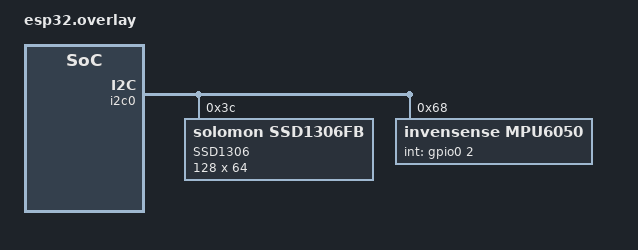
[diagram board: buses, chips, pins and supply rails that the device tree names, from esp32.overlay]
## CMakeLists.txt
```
# SPDX-License-Identifier: Apache-2.0

set(BOARD esp32)
# set(SHIELD ssd1306_128x64)

cmake_minimum_required(VERSION 3.13.1)

find_package(Zephyr REQUIRED HINTS $ENV{ZEPHYR_BASE})
project(lvgl)


FILE(GLOB app_sources src/*.c)
target_sources(app PRIVATE ${app_sources})
```

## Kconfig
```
# Copyright (c) 2019 Nordic Semiconductor ASA
# SPDX-License-Identifier: Apache-2.0

# Use the SPI driver by default, unless the GPIO driver is
# specifically configured in.
config I2C
	default y

config SPI
	default y

config SSD1306
        default y

choice SSD1306_CONTROLLER_TYPE
        default SSD1306_SH1106_COMPATIBLE
endchoice

config LVGL_DISPLAY_DEV_NAME
	default "SSD1306"
	# default "I2C_0"

config LVGL_HOR_RES_MAX
    default 128

config LVGL_VER_RES_MAX
    default 64

config LVGL_VDB_SIZE
    default 64

config LVGL_DPI
    default 116

config LVGL_BITS_PER_PIXEL
    default 1

choice LVGL_COLOR_DEPTH
    default LVGL_COLOR_DEPTH_1
endchoice


source "Kconfig.zephyr"
```

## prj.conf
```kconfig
CONFIG_HEAP_MEM_POOL_SIZE=16384
CONFIG_MAIN_STACK_SIZE=2048

CONFIG_DISPLAY=y
CONFIG_DISPLAY_LOG_LEVEL_ERR=y

CONFIG_LOG=y

# CONFIG_SPI=y
# CONFIG_BMI160=y

CONFIG_I2C=y
CONFIG_SENSOR=y
CONFIG_MPU6050=y
CONFIG_MPU6050_TRIGGER_NONE=y
CONFIG_CBPRINTF_FP_SUPPORT=y

CONFIG_LVGL=y
CONFIG_LVGL_USE_LABEL=y
CONFIG_LVGL_USE_CONT=y
CONFIG_LVGL_USE_BTN=y
CONFIG_LVGL_USE_THEME_MATERIAL=y
```

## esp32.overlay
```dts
&i2c0 {
	status = "okay";

	ssd1306@3c {
		compatible = "solomon,ssd1306fb";
		reg = <0x3c>;
		label = "SSD1306";
		width = <128>;
		height = <64>;
		segment-offset = <0>;
		page-offset = <0>;
		display-offset = <0>;
		multiplex-ratio = <63>;
		segment-remap;
		com-invdir;
		prechargep = <0x22>;
	};
	mpu6050@68 {
		compatible = "invensense,mpu6050";
		reg = <0x68>;
		status = "okay";
		label = "MPU6050";
		int-gpios = <&gpio0 2 GPIO_ACTIVE_HIGH>;
	};
};
```

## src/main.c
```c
/*
 * Copyright (c) 2018 Jan Van Winkel <jan.van_winkel@dxplore.eu>
 *
 * SPDX-License-Identifier: Apache-2.0
 */

#include <device.h>
#include <drivers/display.h>
#include <drivers/sensor.h>
#include <lvgl.h>
#include <stdio.h>
#include <string.h>
#include <zephyr.h>

#define LOG_LEVEL LOG_LEVEL_INFO
#include <logging/log.h>
LOG_MODULE_REGISTER(app);

/* static const char *now_str(void) */
/* { */
/* 	static char buf[16]; /\* ...HH:MM:SS.MMM *\/ */
/* 	uint32_t now = k_uptime_get_32(); */
/* 	unsigned int ms = now % MSEC_PER_SEC; */
/* 	unsigned int s; */
/* 	unsigned int min; */
/* 	unsigned int h; */

/* 	now /= MSEC_PER_SEC; */
/* 	s = now % 60U; */
/* 	now /= 60U; */
/* 	min = now % 60U; */
/* 	now /= 60U; */
/* 	h = now; */

/* 	snprintf(buf, sizeof(buf), "%u:%02u:%02u.%03u", */
/* 		 h, min, s, ms); */
/* 	return buf; */
/* } */

/* static int process_mpu6050(const struct device *dev) */
/* { */
/* 	struct sensor_value temperature; */
/* 	struct sensor_value accel[3]; */
/* 	struct sensor_value gyro[3]; */
/* 	int rc = sensor_sample_fetch(dev); */

/* 	if (rc == 0) { */
/* 		rc = sensor_channel_get(dev, SENSOR_CHAN_ACCEL_XYZ, */
/* 					accel); */
/* 	} */
/* 	if (rc == 0) { */
/* 		rc = sensor_channel_get(dev, SENSOR_CHAN_GYRO_XYZ, */
/* 					gyro); */
/* 	} */
/* 	if (rc == 0) { */
/* 		rc = sensor_channel_get(dev, SENSOR_CHAN_AMBIENT_TEMP, */
/* 					&temperature); */
/* 	} */
/* 	if (rc == 0) { */
/* 		printf("[%s]:%g Cel\n" */
/* 		       "  accel %f %f %f m/s/s\n" */
/* 		       "  gyro  %f %f %f rad/s\n", */
/* 		       now_str(), */
/* 		       sensor_value_to_double(&temperature), */
/* 		       sensor_value_to_double(&accel[0]), */
/* 		       sensor_value_to_double(&accel[1]), */
/* 		       sensor_value_to_double(&accel[2]), */
/* 		       sensor_value_to_double(&gyro[0]), */
/* 		       sensor_value_to_double(&gyro[1]), */
/* 		       sensor_value_to_double(&gyro[2])); */
/* 	} else { */
/* 		printf("sample fetch/get failed: %d\n", rc); */
/* 	} */

/* 	return rc; */
/* } */

/* static struct sensor_trigger trigger; */

/* static void handle_mpu6050_drdy(const struct device *dev, */
/* 				struct sensor_trigger *trig) */
/* { */
/* 	int rc = process_mpu6050(dev); */

/* 	if (rc != 0) { */
/* 		printf("cancelling trigger due to failure: %d\n", rc); */
/* 		(void)sensor_trigger_set(dev, trig, NULL); */
/* 		return; */
/* 	} */
/* } */

void main(void)
{
	uint32_t count = 0U;
	char count_str[11] = {0};
	const struct device *display_dev;
	lv_obj_t *hello_world_label;
	lv_obj_t *count_label;

	/* const char *const label = DT_LABEL(DT_INST(0, invensense_mpu6050)); */
	/* const struct device *mpu6050 = device_get_binding(label); */

	/* trigger = (struct sensor_trigger) { */
	/* 	.type = SENSOR_TRIG_DATA_READY, */
	/* 	.chan = SENSOR_CHAN_ALL, */
	/* }; */
	/* if (sensor_trigger_set(mpu6050, &trigger, */
	/* 		       handle_mpu6050_drdy) < 0) { */
	/* 	printf("Cannot configure trigger\n"); */
	/* 	return; */
	/* }; */
	/* printk("Configured for triggered sampling.\n"); */


	/* while (!IS_ENABLED(CONFIG_MPU6050_TRIGGER)) { */
	/* 	int rc = process_mpu6050(mpu6050); */

	/* 	if (rc != 0) { */
	/* 		break; */
	/* 	} */
	/* 	k_sleep(K_SECONDS(2)); */
	/* } */

	display_dev = device_get_binding(CONFIG_LVGL_DISPLAY_DEV_NAME);

	if (display_dev == NULL) {
		LOG_ERR("device not found.  Aborting test.");
		return;
	}

	if (IS_ENABLED(CONFIG_LVGL_POINTER_KSCAN)) {
		lv_obj_t *hello_world_button;

		hello_world_button = lv_btn_create(lv_scr_act(), NULL);
		lv_obj_align(hello_world_button, NULL, LV_ALIGN_CENTER, 0, 0);
		lv_btn_set_fit(hello_world_button, LV_FIT_TIGHT);
		hello_world_label = lv_label_create(hello_world_button, NULL);
	} else {
		hello_world_label = lv_label_create(lv_scr_act(), NULL);
	}

	lv_label_set_text(hello_world_label, "Hello world!");
	lv_obj_align(hello_world_label, NULL, LV_ALIGN_CENTER, 0, 0);

	count_label = lv_label_create(lv_scr_act(), NULL);
	lv_obj_align(count_label, NULL, LV_ALIGN_IN_BOTTOM_MID, 0, 0);

	lv_task_handler();
	display_blanking_off(display_dev);

	while (1) {
		if ((count % 100) == 0U) {
			sprintf(count_str, "%d", count/100U);
			lv_label_set_text(count_label, count_str);
		}
		lv_task_handler();
		k_sleep(K_MSEC(10));
		++count;
	}
}
```
